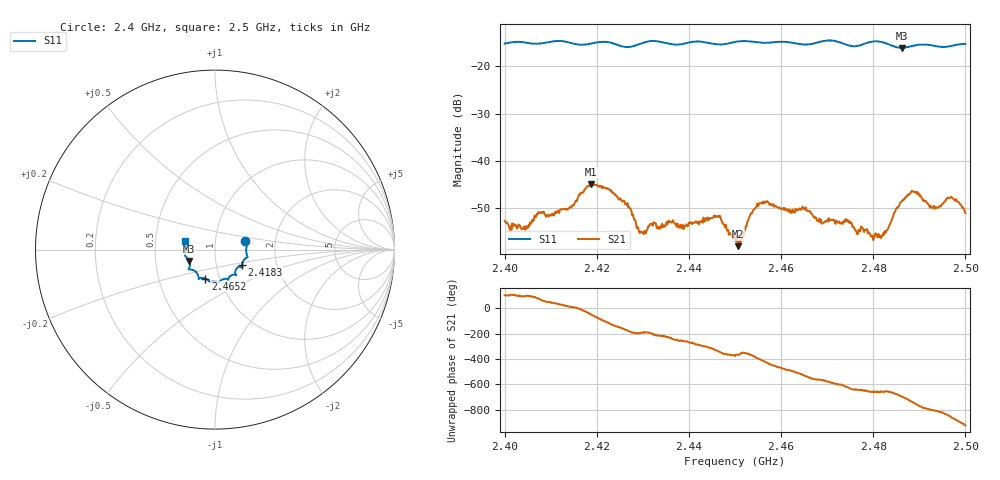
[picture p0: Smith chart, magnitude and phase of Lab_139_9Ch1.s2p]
# Hz S RI R 50
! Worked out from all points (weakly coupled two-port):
!   601 points, 2.4 GHz to 2.5 GHz, reference 50 ohm
!   highest |S21| = -44.89 dB at 2.4187 GHz (marker M1); lowest = -58.1 dB at 2.4507 GHz (marker M2)
!   lowest |S11| = -16.1 dB at 2.4862 GHz (marker M3), VSWR 1.37, Z = 37.2 - j4.88 ohm
!   |S11| at or under -10 dB: start of sweep to end of sweep
!   S12 and S22 are empty: the file has one direction only
!   S11 on the Smith chart (normalised r, x): 2.4 GHz: 1.40, +0.14; 2.4183 GHz: 1.33, -0.24; 2.4652 GHz: 0.85, -0.28; 2.5 GHz: 0.71, +0.07
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2.4e9  0.168 0.0469  -0.000453 0.00227  0 0  0 0
2.4045e9  0.1772 0.023  -0.000207 0.00185  0 0  0 0
2.414e9  0.1725 -0.0471  0.00309 0.00066  0 0  0 0
2.416667e9  0.1551 -0.0679  0.00449 -0.000895  0 0  0 0
2.418333e9  0.15 -0.0861  0.00396 -0.00378  0 0  0 0
2.418667e9  0.1496 -0.0892  0.00388 -0.00417  0 0  0 0
2.426167e9  0.1247 -0.1012  -0.0034 -0.000651  0 0  0 0
2.429667e9  0.113 -0.1338  -0.00175 0.000394  0 0  0 0
2.433333e9  0.1172 -0.1414  -0.00166 0.00115  0 0  0 0
2.446333e9  0.051 -0.1632  0.00244 0.000907  0 0  0 0
2.45e9  0.0259 -0.1796  0.00141 -0.000434  0 0  0 0
2.450667e9  0.0238 -0.1821  0.00124 -0.000168  0 0  0 0
2.455333e9  0.00519 -0.1787  0.00263 -0.00234  0 0  0 0
2.465167e9  -0.0545 -0.1613  -0.00305 -0.000287  0 0  0 0
2.466667e9  -0.0707 -0.1577  -0.00267 0.000653  0 0  0 0
2.479833e9  -0.1462 -0.1103  0.000711 0.00145  0 0  0 0
2.483333e9  -0.1416 -0.0965  0.000892 0.00175  0 0  0 0
2.486167e9  -0.1431 -0.0639  0.00337 0.00158  0 0  0 0
2.488833e9  -0.1607 -0.0412  0.00413 -0.00215  0 0  0 0
2.492833e9  -0.1649 -0.0213  0.000411 -0.00316  0 0  0 0
2.496667e9  -0.1618 0.0227  -0.00266 -0.00306  0 0  0 0
2.5e9  -0.166 0.0477  -0.00256 0.00114  0 0  0 0
